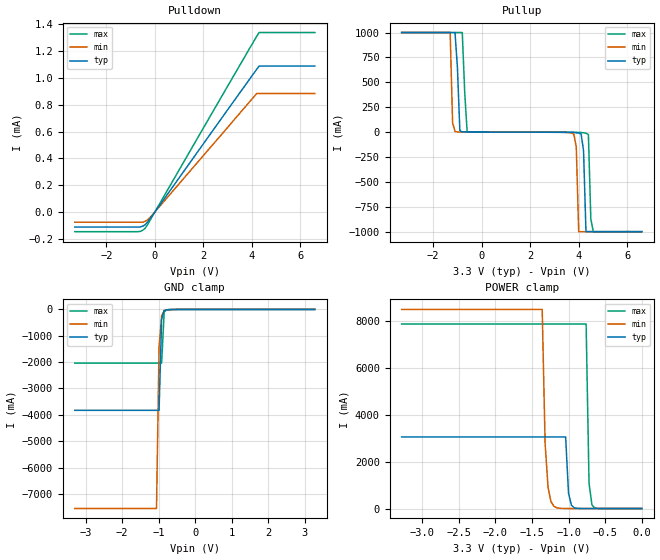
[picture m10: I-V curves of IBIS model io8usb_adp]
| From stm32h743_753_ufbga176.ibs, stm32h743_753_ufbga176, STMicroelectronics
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|   Model io8usb_adp
[Model]  io8usb_adp
Model_type I/O
Polarity   Non-Inverting
Enable   Active-High
Vinl =   0.990000V
Vinh =   2.310000V
Vmeas =  1.650000V
Cref =   30.000000pF
Rref =   100.000000M
Vref =   0.0V
C_comp   3.893600pF   3.852100pF   3.972900pF
[Temperature Range]   25.000000   0.140000k   -40.000000
[Pullup Reference]   3.300000V   3.000000V   3.600000V
[Pulldown Reference]   0.0V   0.0V   0.0V
[POWER Clamp Reference]   3.300000V   3.000000V   3.600000V
[GND Clamp Reference]   0.0V   0.0V   0.0V
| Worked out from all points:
|   slope of the pulldown table from 0 to 0.495 V, typ, clamps not added: 3.93 kohm
|   slope of the pullup table from 0 to 0.495 V, typ, clamps not added: 1.23 kohm
|   GND clamp passes 1 mA (typ) near -0.48 V on its own axis
|   POWER clamp passes 1 mA (typ) near -0.83 V on its own axis
[Pulldown]
|Voltage   I(typ)   I(min)   I(max)
-3.3V     -111.6uA   -75.6uA    -146.1uA
-700mV    -111.6uA   -75.6uA    -146.1uA
-600mV    -111.6uA   -75.6uA    -144.2uA
-400mV    -94.66uA   -69.36uA   -121.3uA
-300mV    -75.85uA   -58.47uA   -94.01uA
-100mV    -25.47uA   -21.09uA   -31.37uA
4.2V      1.065mA    885uA      1.311mA
4.3V      1.09mA     885uA      1.34mA
6.6V      1.09mA     885uA      1.34mA
[Pullup]
|Voltage   I(typ)   I(min)   I(max)
-3.3V     1A         1A         1A
-1.3V     1A         1A         1A
-1.2V     1A         96mA       1A
-1.1V     1A         6.6mA      1A
-900mV    14.2mA     843uA      1A
-600mV    991uA      759uA      4.06mA
3.8V      -3.48mA    -20.3mA    -2.73mA
4.1V      -18.5mA    -1A        -4.07mA
4.4V      -1A        -1A        -24.6mA
4.5V      -1A        -1A        -870mA
4.6V      -1A        -1A        -1A
6.6V      -1A        -1A        -1A
[GND_clamp]
|Voltage   I(typ)   I(min)   I(max)
-3.3V     -3.828A    -7.553A    -2.036A
-1.06V    -3.828A    -7.553A    -2.036A
-990mV    -3.828A    -1.425A    -2.036A
-920mV    -368.8mA   -243.5mA   -2.036A
-850mV    -41.13mA   -46.61mA   -98.65mA
-780mV    -13.33mA   -14.79mA   -15.99mA
-500mV    -1.243mA   -1.824mA   -1.092mA
3.28V     -17.75nA   -226.2nA   -57.51nA
[POWER_clamp]
|Voltage   I(typ)   I(min)   I(max)
-3.28V    3.058A     8.509A     7.885A
-1.36V    3.058A     8.509A     7.885A
-1.32V    3.058A     2.767A     7.885A
-1.28V    3.058A     899.5mA    7.885A
-1.24V    3.058A     292.4mA    7.885A
-1.04V    3.058A     1.063mA    7.885A
-1V       644.7mA    345.8uA    7.885A
-960mV    135.9mA    112.7uA    7.885A
-760mV    56.56uA    730.7nA    7.885A
-720mV    11.93uA    451.8nA    1.077A
-680mV    2.517uA    358.9nA    147.1mA
0V        0A         55.64nA    0A
[Ramp]
| variable   typ   min   max
dV/dt_r  1.40154/7.36821n   1.26736/9.37353n   1.53369/5.80252n
dV/dt_f  1.39477/47.47963n   1.25953/57.27062n   1.52749/38.90941n
R_load = 1.000000M
|End [Model] io8usb_adp
